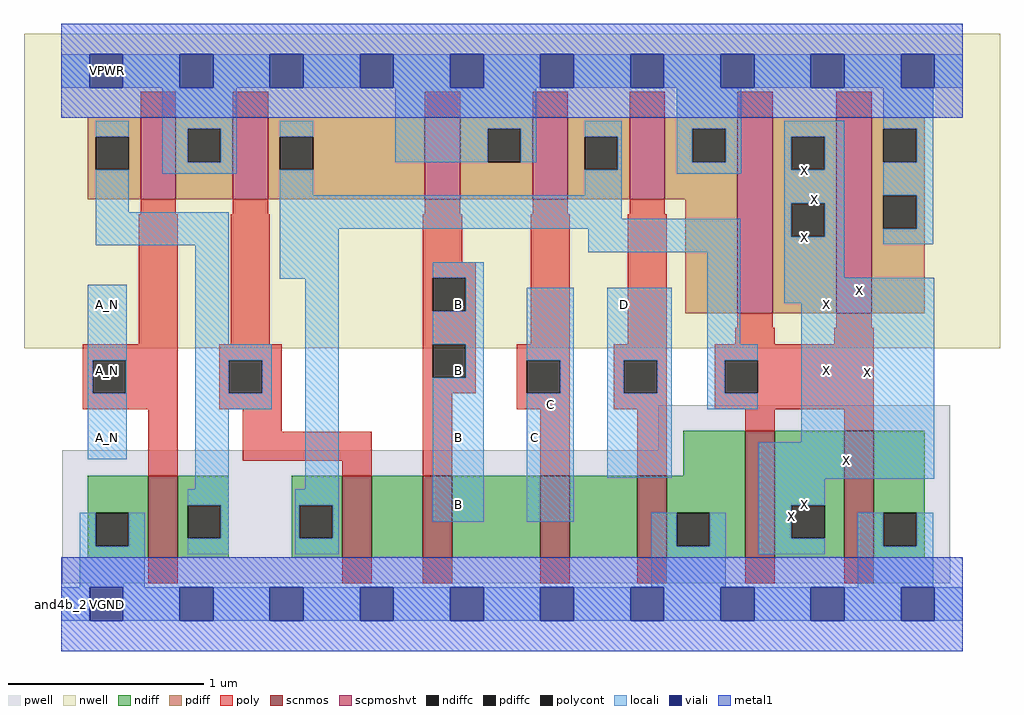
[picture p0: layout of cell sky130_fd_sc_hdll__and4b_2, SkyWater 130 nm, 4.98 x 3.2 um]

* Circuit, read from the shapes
.subckt sky130_fd_sc_hdll__and4b_2 A_N B C D VGND VNB VPB VPWR X
XM1 n1 A_N VGND VNB sky130_fd_pr__nfet_01v8 w=0.42 l=0.15
XM2 n2 n1 n3 VNB sky130_fd_pr__nfet_01v8 w=0.42 l=0.15
XM3 n4 B n2 VNB sky130_fd_pr__nfet_01v8 w=0.42 l=0.15
XM4 n5 C n4 VNB sky130_fd_pr__nfet_01v8 w=0.42 l=0.15
XM5 VGND D n5 VNB sky130_fd_pr__nfet_01v8 w=0.42 l=0.15
XM6 X n3 VGND VNB sky130_fd_pr__nfet_01v8 w=0.65 l=0.15 m=2
XM7 VPWR A_N n1 VPB sky130_fd_pr__pfet_01v8_hvt w=0.42 l=0.18
XM8 n3 n1 VPWR VPB sky130_fd_pr__pfet_01v8_hvt w=0.42 l=0.18
XM9 VPWR B n3 VPB sky130_fd_pr__pfet_01v8_hvt w=0.42 l=0.18
XM10 n3 C VPWR VPB sky130_fd_pr__pfet_01v8_hvt w=0.42 l=0.18
XM11 VPWR D n3 VPB sky130_fd_pr__pfet_01v8_hvt w=0.42 l=0.18
XM12 X n3 VPWR VPB sky130_fd_pr__pfet_01v8_hvt w=1 l=0.18 m=2
.ends

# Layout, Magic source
magic
tech sky130A
magscale 1 2
<< nwell >>
rect -38 261 958 582
<< pwell >>
rect 609 157 907 203
rect 1 21 907 157
rect 30 -17 64 21
<< scnmos >>
rect 89 47 119 131
rect 287 47 317 131
rect 369 47 399 131
rect 489 47 519 131
rect 588 47 618 131
rect 698 47 728 177
rect 799 47 829 177
<< scpmoshvt >>
rect 81 413 117 497
rect 175 413 211 497
rect 371 413 407 497
rect 481 413 517 497
rect 580 413 616 497
rect 690 297 726 497
rect 791 297 827 497
<< ndiff >>
rect 635 131 698 177
rect 27 93 89 131
rect 27 59 35 93
rect 69 59 89 93
rect 27 47 89 59
rect 119 101 171 131
rect 119 67 129 101
rect 163 67 171 101
rect 119 47 171 67
rect 235 101 287 131
rect 235 67 243 101
rect 277 67 287 101
rect 235 47 287 67
rect 317 47 369 131
rect 399 47 489 131
rect 519 47 588 131
rect 618 93 698 131
rect 618 59 628 93
rect 662 59 698 93
rect 618 47 698 59
rect 728 101 799 177
rect 728 67 745 101
rect 779 67 799 101
rect 728 47 799 67
rect 829 93 881 177
rect 829 59 839 93
rect 873 59 881 93
rect 829 47 881 59
<< pdiff >>
rect 27 477 81 497
rect 27 443 35 477
rect 69 443 81 477
rect 27 413 81 443
rect 117 485 175 497
rect 117 451 129 485
rect 163 451 175 485
rect 117 413 175 451
rect 211 477 371 497
rect 211 443 223 477
rect 257 443 371 477
rect 211 413 371 443
rect 407 485 481 497
rect 407 451 435 485
rect 469 451 481 485
rect 407 413 481 451
rect 517 477 580 497
rect 517 443 534 477
rect 568 443 580 477
rect 517 413 580 443
rect 616 485 690 497
rect 616 451 644 485
rect 678 451 690 485
rect 616 413 690 451
rect 637 297 690 413
rect 726 477 791 497
rect 726 443 745 477
rect 779 443 791 477
rect 726 409 791 443
rect 726 375 745 409
rect 779 375 791 409
rect 726 297 791 375
rect 827 485 881 497
rect 827 451 839 485
rect 873 451 881 485
rect 827 417 881 451
rect 827 383 839 417
rect 873 383 881 417
rect 827 297 881 383
<< ndiffc >>
rect 35 59 69 93
rect 129 67 163 101
rect 243 67 277 101
rect 628 59 662 93
rect 745 67 779 101
rect 839 59 873 93
<< pdiffc >>
rect 35 443 69 477
rect 129 451 163 485
rect 223 443 257 477
rect 435 451 469 485
rect 534 443 568 477
rect 644 451 678 485
rect 745 443 779 477
rect 745 375 779 409
rect 839 451 873 485
rect 839 383 873 417
<< poly >>
rect 81 497 117 523
rect 175 497 211 523
rect 371 497 407 523
rect 481 497 517 523
rect 580 497 616 523
rect 690 497 726 523
rect 791 497 827 523
rect 81 398 117 413
rect 175 398 211 413
rect 371 398 407 413
rect 481 398 517 413
rect 580 398 616 413
rect 79 265 119 398
rect 173 265 213 398
rect 369 349 409 398
rect 369 333 423 349
rect 369 299 379 333
rect 413 299 423 333
rect 369 265 423 299
rect 479 265 519 398
rect 578 265 618 398
rect 690 282 726 297
rect 791 282 827 297
rect 688 265 728 282
rect 789 265 829 282
rect 22 249 119 265
rect 22 215 32 249
rect 66 215 119 249
rect 22 199 119 215
rect 161 249 225 265
rect 161 215 171 249
rect 205 215 225 249
rect 161 199 225 215
rect 89 131 119 199
rect 185 176 225 199
rect 369 231 379 265
rect 413 231 423 265
rect 369 215 423 231
rect 465 249 519 265
rect 465 215 475 249
rect 509 215 519 249
rect 185 146 317 176
rect 287 131 317 146
rect 369 131 399 215
rect 465 199 519 215
rect 564 249 618 265
rect 564 215 574 249
rect 608 215 618 249
rect 564 199 618 215
rect 667 249 829 265
rect 667 215 677 249
rect 711 215 829 249
rect 667 199 829 215
rect 489 131 519 199
rect 588 131 618 199
rect 698 177 728 199
rect 799 177 829 199
rect 89 21 119 47
rect 287 21 317 47
rect 369 21 399 47
rect 489 21 519 47
rect 588 21 618 47
rect 698 21 728 47
rect 799 21 829 47
<< polycont >>
rect 379 299 413 333
rect 32 215 66 249
rect 171 215 205 249
rect 379 231 413 265
rect 475 215 509 249
rect 574 215 608 249
rect 677 215 711 249
<< locali >>
rect 0 527 29 561
rect 63 527 121 561
rect 155 527 213 561
rect 247 527 305 561
rect 339 527 397 561
rect 431 527 489 561
rect 523 527 581 561
rect 615 527 673 561
rect 707 527 765 561
rect 799 527 857 561
rect 891 527 920 561
rect 35 477 69 493
rect 35 400 69 443
rect 103 485 179 527
rect 103 451 129 485
rect 163 451 179 485
rect 103 439 179 451
rect 223 477 257 493
rect 341 485 485 527
rect 341 451 435 485
rect 469 451 485 485
rect 534 477 572 493
rect 223 417 257 443
rect 568 443 572 477
rect 534 417 572 443
rect 628 485 694 527
rect 628 451 644 485
rect 678 451 694 485
rect 628 439 694 451
rect 738 477 799 493
rect 738 443 745 477
rect 779 443 799 477
rect 35 366 171 400
rect 27 249 67 326
rect 27 215 32 249
rect 66 215 67 249
rect 27 148 67 215
rect 137 265 171 366
rect 223 393 572 417
rect 738 409 799 443
rect 223 383 693 393
rect 223 332 283 383
rect 538 359 693 383
rect 137 249 215 265
rect 137 215 171 249
rect 205 215 215 249
rect 137 199 215 215
rect 137 117 171 199
rect 249 117 283 332
rect 129 101 171 117
rect 19 59 35 93
rect 69 59 85 93
rect 19 17 85 59
rect 163 67 171 101
rect 129 51 171 67
rect 239 101 283 117
rect 239 67 243 101
rect 277 67 283 101
rect 379 333 431 349
rect 413 299 431 333
rect 379 265 431 299
rect 413 231 431 265
rect 379 84 431 231
rect 475 249 523 323
rect 509 215 523 249
rect 475 84 523 215
rect 557 249 623 323
rect 557 215 574 249
rect 608 215 623 249
rect 557 129 623 215
rect 659 265 693 359
rect 738 375 745 409
rect 779 375 799 409
rect 738 333 799 375
rect 839 485 890 527
rect 873 451 890 485
rect 839 417 890 451
rect 873 383 890 417
rect 839 367 890 383
rect 738 307 891 333
rect 659 249 711 265
rect 659 215 677 249
rect 659 199 711 215
rect 755 165 891 307
rect 712 128 891 165
rect 712 101 779 128
rect 239 51 283 67
rect 602 59 628 93
rect 662 59 678 93
rect 602 17 678 59
rect 712 67 745 101
rect 712 51 779 67
rect 813 59 839 93
rect 873 59 890 93
rect 813 17 890 59
rect 0 -17 29 17
rect 63 -17 121 17
rect 155 -17 213 17
rect 247 -17 305 17
rect 339 -17 397 17
rect 431 -17 489 17
rect 523 -17 581 17
rect 615 -17 673 17
rect 707 -17 765 17
rect 799 -17 857 17
rect 891 -17 920 17
<< viali >>
rect 29 527 63 561
rect 121 527 155 561
rect 213 527 247 561
rect 305 527 339 561
rect 397 527 431 561
rect 489 527 523 561
rect 581 527 615 561
rect 673 527 707 561
rect 765 527 799 561
rect 857 527 891 561
rect 29 -17 63 17
rect 121 -17 155 17
rect 213 -17 247 17
rect 305 -17 339 17
rect 397 -17 431 17
rect 489 -17 523 17
rect 581 -17 615 17
rect 673 -17 707 17
rect 765 -17 799 17
rect 857 -17 891 17
<< metal1 >>
rect 0 561 920 592
rect 0 527 29 561
rect 63 527 121 561
rect 155 527 213 561
rect 247 527 305 561
rect 339 527 397 561
rect 431 527 489 561
rect 523 527 581 561
rect 615 527 673 561
rect 707 527 765 561
rect 799 527 857 561
rect 891 527 920 561
rect 0 496 920 527
rect 0 17 920 48
rect 0 -17 29 17
rect 63 -17 121 17
rect 155 -17 213 17
rect 247 -17 305 17
rect 339 -17 397 17
rect 431 -17 489 17
rect 523 -17 581 17
rect 615 -17 673 17
rect 707 -17 765 17
rect 799 -17 857 17
rect 891 -17 920 17
rect 0 -48 920 -17
<< labels >>
flabel metal1 s 30 527 64 561 0 FreeSans 200 0 0 0 VPWR
port 8 nsew power bidirectional
flabel metal1 s 30 -17 64 17 0 FreeSans 200 0 0 0 VGND
port 5 nsew ground bidirectional
flabel locali s 755 165 891 307 0 FreeSans 200 0 0 0 X
port 9 nsew signal output
flabel locali s 781 238 781 238 0 FreeSans 200 0 0 0 X
port 9 nsew
flabel locali s 781 306 781 306 0 FreeSans 200 0 0 0 X
port 9 nsew
flabel locali s 30 289 64 323 0 FreeSans 200 0 0 0 A_N
port 1 nsew signal input
flabel locali s 742 85 776 119 0 FreeSans 200 0 0 0 X
port 9 nsew
flabel locali s 742 357 776 391 0 FreeSans 200 0 0 0 X
port 9 nsew
flabel locali s 742 425 776 459 0 FreeSans 200 0 0 0 X
port 9 nsew
flabel locali s 30 221 64 255 0 FreeSans 200 0 0 0 A_N
port 1 nsew signal input
flabel locali s 558 289 592 323 0 FreeSans 200 0 0 0 D
port 4 nsew signal input
flabel locali s 475 84 523 323 0 FreeSans 200 0 0 0 C
port 3 nsew signal input
flabel locali s 483 170 483 170 0 FreeSans 200 0 0 0 C
port 3 nsew
flabel locali s 388 85 422 119 0 FreeSans 200 0 0 0 B
port 2 nsew signal input
flabel locali s 388 153 422 187 0 FreeSans 200 0 0 0 B
port 2 nsew signal input
flabel locali s 388 221 422 255 0 FreeSans 200 0 0 0 B
port 2 nsew signal input
flabel locali s 388 289 422 323 0 FreeSans 200 0 0 0 B
port 2 nsew signal input
flabel locali s 30 153 64 187 0 FreeSans 200 0 0 0 A_N
port 1 nsew signal input
flabel pwell s 30 -17 64 17 0 FreeSans 200 0 0 0 VNB
port 6 nsew ground bidirectional
flabel nwell s 30 527 64 561 0 FreeSans 200 0 0 0 VPB
port 7 nsew power bidirectional
rlabel comment s 0 0 0 0 4 and4b_2
rlabel locali s 738 333 799 493 1 X
port 9 nsew signal output
rlabel locali s 738 307 891 333 1 X
port 9 nsew signal output
rlabel locali s 712 128 891 165 1 X
port 9 nsew signal output
rlabel locali s 712 51 779 128 1 X
port 9 nsew signal output
<< properties >>
string LEFsite unithd
string LEFclass CORE
string FIXED_BBOX 0 0 920 544
string GDS_FILE $PDKPATH/libs.ref/sky130_fd_sc_hdll/gds/sky130_fd_sc_hdll.gds
string LEFsymmetry X Y R90
string GDS_END 1863932
string GDS_START 1855448
string LEFproperties maskLayoutSubType "abstract" prCellType "standard" originalViewName "layout"
<< end >>
